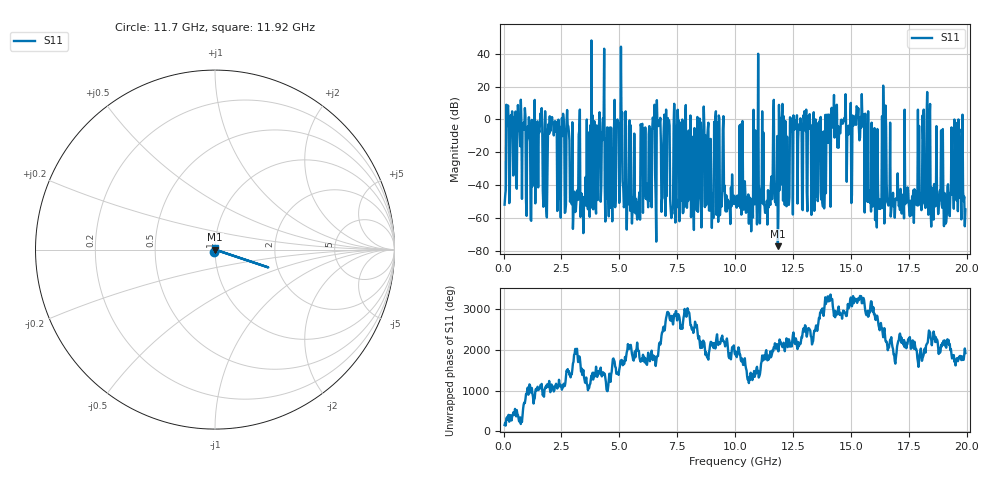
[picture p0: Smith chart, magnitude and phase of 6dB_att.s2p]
! RsaToolbox (C) 2014 Rohde & Schwarz America
! Number of points: 798
! Number of ports: 2
! Balanced ports?: No
# Hz S RI R 50
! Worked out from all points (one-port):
!   797 points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, 45 MHz to 19.95 GHz, reference 50 ohm
!   lowest |S11| = -77.1 dB at 11.85 GHz (marker M1), VSWR 1.00, Z = 50 - j0.00813 ohm
!   |S11| at or under -10 dB: 9.502 GHz to 10.19 GHz (690.1 MHz wide, 7.01 % of centre); 16.7 GHz to 17.31 GHz (615.4 MHz wide, 3.62 % of centre); 17.33 GHz to 17.89 GHz (561.2 MHz wide, 3.19 % of centre) (the widest 3 of 131)
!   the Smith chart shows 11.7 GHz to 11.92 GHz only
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4.5e7  -0.00231 0.00107  0 0  0 0  6.68e-315 1.86e-314
3.37e9  -0.00163 0.00531  0 0  0 0  1.76e-314 1.99e-314
3.695e9  0.00536 -0.00147  0 0  0 0  8.04e-315 1.73e-314
3.72e9  0.000435 0.000996  0 0  0 0  5.1e-317 1.86e-314
3.87e9  -0.00179 -0.000428  0 0  0 0  1.33e-314 2.73e-315
3.895e9  0.5663 0.00487  0 0  0 0  5.33e-315 2.4e-315
4.245e9  0.00278 -0.3976  0 0  0 0  1.93e-314 8.08e-317
4.27e9  0.1359 -0.1879  0 0  0 0  1.84e-314 1.33e-314
4.42e9  -0.1653 0.1978  0 0  0 0  7.98e-315 6.63e-315
4.445e9  0.00253 -0.003  0 0  0 0  1.33e-314 1.06e-314
4.97e9  0.4754 -0.6346  0 0  0 0  1.89e-317 7.98e-315
4.995e9  0.000822 0.00277  0 0  0 0  3.58e-317 7.01e-317
5.045e9  0.1007 -0.2427  0 0  0 0  1.99e-314 1.86e-314
5.145e9  -0.0131 -0.00119  0 0  0 0  1.86e-314 2.68e-315
5.17e9  0.000396 -0.00806  0 0  0 0  5.31e-315 1.06e-314
6.695e9  -0.5966 -0.196  0 0  0 0  1.59e-314 4.08e-316
9.995e9  -0.000139 0.00346  0 0  0 0  5.36e-315 6.68e-315
1.107e10  0.000536 -0.000429  0 0  0 0  1.07e-314 2.7e-315
1.1845e10  0.000113 -8.13e-05  0 0  0 0  2.06e-315 6.36e-317
1.332e10  0.00172 -0.000752  0 0  0 0  2.1e-314 1.07e-314
1.6645e10  -0.000326 -0.00261  0 0  0 0  1.33e-314 5.65e-317
1.9945e10  -0.00105 0.0015  0 0  0 0  7.97e-315 5.36e-315
